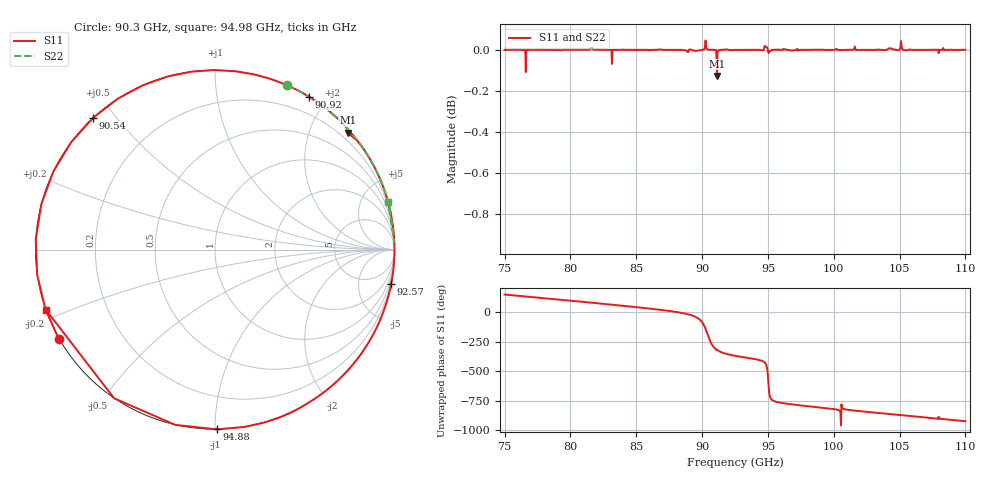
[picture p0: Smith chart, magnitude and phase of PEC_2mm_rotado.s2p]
! TOUCHSTONE file generated by CST MICROWAVE STUDIO
! Date and time: Mon Feb  5 13:56:31 2024
! Project name: metal_rotado.cst
! Header version: 2018
! Port assignment regex: !\s*Touchstone port\s*([0-9]+)\s*=\s*(CST MWS port|CST DS port)\s*([0-9]+|Zmin|Zmax)\s*\(\"(.*)\"\)(\s*mode\s*([0-9]+))?.*
! Touchstone port assignment:
! Touchstone port 1 = CST MWS port 1 ("")
! Touchstone port 2 = CST MWS port 2 ("")
# GHz S MA R 376.7
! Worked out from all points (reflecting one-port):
!   1001 points, 75 GHz to 110 GHz, reference 376.7 ohm
!   lowest |S11| = -0.1 dB at 91.14 GHz (marker M1), VSWR 136.96, Z = 22.1 + j998 ohm
!   phase of S11 starts at 148 deg and turns -1071 deg over the sweep
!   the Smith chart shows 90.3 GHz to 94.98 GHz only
!   S11 on the Smith chart (normalised r, x): 90.3 GHz: -0.00, -0.27; 90.54 GHz: -0.00, +0.44; 90.92 GHz: -0.00, +1.79; 92.57 GHz: -0, -10; 94.88 GHz: -0.00, -1.01; 94.98 GHz: -0.00, -0.17
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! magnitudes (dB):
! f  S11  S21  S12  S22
! 75 GHz  0.0  -  -  0.0
! 80.84 GHz  0.0  -  -  0.0
! 86.69 GHz  0.0  -  -  0.0
! 90.3 GHz  0.0  -  -  0.0
! 90.54 GHz  0.0  -  -  0.0
! 90.92 GHz  0.0  -  -  0.0
! 91.14 GHz  -0.1  -  -  0.0
! 92.5 GHz  0.0  -  -  0.0
! 92.57 GHz  0.0  -  -  0.0
! 94.88 GHz  0.0  -  -  0.0
! 94.98 GHz  0.0  -  -  0.0
! 98.34 GHz  0.0  -  -  0.0
! 99.71 GHz  0.0  -  -  -0.1
! 100.1 GHz  0.0  -  -  0.0
! 102.5 GHz  0.0  -  -  0.0
! 102.9 GHz  0.0  -  -  -0.1
! 103.3 GHz  0.0  -  -  0.0
! 104.2 GHz  0.0  -  -  0.0
! 107.2 GHz  0.0  -  -  0.0
! 107.9 GHz  0.0  -  -  0.0
! 108.3 GHz  0.0  -  -  0.0
! 110 GHz  0.0  -  -  0.0
